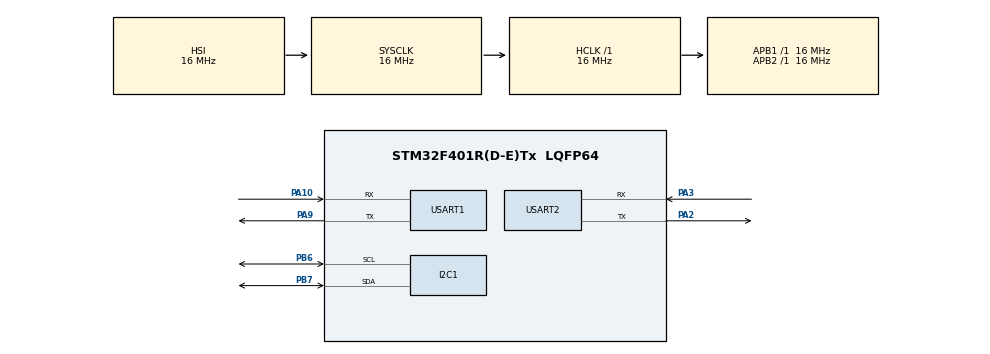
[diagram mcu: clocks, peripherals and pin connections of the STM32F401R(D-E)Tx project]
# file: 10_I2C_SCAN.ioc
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Mcu.Family=STM32F4
Mcu.Name=STM32F401R(D-E)Tx
Mcu.Package=LQFP64
NVIC.PriorityGroup=NVIC_PRIORITYGROUP_4
PA10.Mode=Asynchronous
PA10.Signal=USART1_RX
PA2.Mode=Asynchronous
PA2.Signal=USART2_TX
PA3.Mode=Asynchronous
PA3.Signal=USART2_RX
PA9.Mode=Asynchronous
PA9.Signal=USART1_TX
PB6.Mode=I2C
PB6.Signal=I2C1_SCL
PB7.Mode=I2C
PB7.Signal=I2C1_SDA
ProjectManager.HeapSize=0x200
ProjectManager.StackSize=0x400
ProjectManager.TargetToolchain=STM32CubeIDE
RCC.AHBFreq_Value=16000000
RCC.APB1Freq_Value=16000000
RCC.APB2Freq_Value=16000000
RCC.CortexFreq_Value=16000000
RCC.HSE_VALUE=25000000
RCC.HSI_VALUE=16000000
RCC.LSE_VALUE=32768
RCC.SYSCLKFreq_VALUE=16000000
RCC.VCOOutputFreq_Value=192000000
USART1.VirtualMode=VM_ASYNC
USART2.VirtualMode=VM_ASYNC
board=custom

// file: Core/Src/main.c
/* USER CODE BEGIN Header */
/**
  ******************************************************************************
  * @file           : main.c
  * @brief          : Main program body
  ******************************************************************************
  * @attention
  *
  * Copyright (c) 2023 STMicroelectronics.
  * All rights reserved.
  *
  * This software is licensed under terms that can be found in the LICENSE file
  * in the root directory of this software component.
  * If no LICENSE file comes with this software, it is provided AS-IS.
  *
  ******************************************************************************
  */
/* USER CODE END Header */
#include "main.h"

/* USER CODE BEGIN Includes */
#include <stdio.h>
/* USER CODE END Includes */

I2C_HandleTypeDef hi2c1;

UART_HandleTypeDef huart1;
UART_HandleTypeDef huart2;

void SystemClock_Config(void);
static void MX_GPIO_Init(void);
static void MX_USART2_UART_Init(void);
static void MX_USART1_UART_Init(void);
static void MX_I2C1_Init(void);

/* USER CODE BEGIN 0 */
#ifdef	__GNUC__
#define PUTCHAR_PROTOTYPE int __io_putchar(int caracter);
#else
#define PUTCHAR_PROTOTYPE int fputc(int caracter);
#endif

int __io_putchar(int caracter)
{
	HAL_UART_Transmit(&huart2,(uint8_t *)&caracter,1,HAL_MAX_DELAY);
	HAL_UART_Transmit(&huart1,(uint8_t *)&caracter,1,HAL_MAX_DELAY);
	return caracter;
}
/* USER CODE END 0 */

int main(void)
{

  /* MCU Configuration--------------------------------------------------------*/

  /* Reset of all peripherals, Initializes the Flash interface and the Systick. */
  HAL_Init();

  /* Configure the system clock */
  SystemClock_Config();

  /* Initialize all configured peripherals */
  MX_GPIO_Init();
  MX_USART2_UART_Init();
  MX_USART1_UART_Init();
  MX_I2C1_Init();
  /* USER CODE BEGIN 2 */
  printf("Iniciamos el Scaneo :D\n\r");
  uint8_t var ,respuesta;
   for (var = 0; var <128; ++var) {

 	  respuesta=HAL_I2C_IsDeviceReady(&hi2c1, (uint16_t)(var<<1),3,10);

 	  if (respuesta != HAL_OK) printf("-\n\r");
 	  else if (respuesta == HAL_OK) printf("0x%X\n\r",var);

   }
   printf("Scaneo Completado B)\n\r");
  /* USER CODE END 2 */

  /* Infinite loop */
  while (1)
  {

  }
}

void SystemClock_Config(void)
{
  RCC_OscInitTypeDef RCC_OscInitStruct = {0};
  RCC_ClkInitTypeDef RCC_ClkInitStruct = {0};

  /** Configure the main internal regulator output voltage
  */
  __HAL_RCC_PWR_CLK_ENABLE();
  __HAL_PWR_VOLTAGESCALING_CONFIG(PWR_REGULATOR_VOLTAGE_SCALE2);

  /** Initializes the RCC Oscillators according to the specified parameters
  * in the RCC_OscInitTypeDef structure.
  */
  RCC_OscInitStruct.OscillatorType = RCC_OSCILLATORTYPE_HSI;
  RCC_OscInitStruct.HSIState = RCC_HSI_ON;
  RCC_OscInitStruct.HSICalibrationValue = RCC_HSICALIBRATION_DEFAULT;
  RCC_OscInitStruct.PLL.PLLState = RCC_PLL_NONE;
  if (HAL_RCC_OscConfig(&RCC_OscInitStruct) != HAL_OK)
  {
    Error_Handler();
  }

  /** Initializes the CPU, AHB and APB buses clocks
  */
  RCC_ClkInitStruct.ClockType = RCC_CLOCKTYPE_HCLK|RCC_CLOCKTYPE_SYSCLK
                              |RCC_CLOCKTYPE_PCLK1|RCC_CLOCKTYPE_PCLK2;
  RCC_ClkInitStruct.SYSCLKSource = RCC_SYSCLKSOURCE_HSI;
  RCC_ClkInitStruct.AHBCLKDivider = RCC_SYSCLK_DIV1;
  RCC_ClkInitStruct.APB1CLKDivider = RCC_HCLK_DIV1;
  RCC_ClkInitStruct.APB2CLKDivider = RCC_HCLK_DIV1;

  if (HAL_RCC_ClockConfig(&RCC_ClkInitStruct, FLASH_LATENCY_0) != HAL_OK)
  {
    Error_Handler();
  }
}

static void MX_I2C1_Init(void)
{

  hi2c1.Instance = I2C1;
  hi2c1.Init.ClockSpeed = 100000;
  hi2c1.Init.DutyCycle = I2C_DUTYCYCLE_2;
  hi2c1.Init.OwnAddress1 = 0;
  hi2c1.Init.AddressingMode = I2C_ADDRESSINGMODE_7BIT;
  hi2c1.Init.DualAddressMode = I2C_DUALADDRESS_DISABLE;
  hi2c1.Init.OwnAddress2 = 0;
  hi2c1.Init.GeneralCallMode = I2C_GENERALCALL_DISABLE;
  hi2c1.Init.NoStretchMode = I2C_NOSTRETCH_DISABLE;
  if (HAL_I2C_Init(&hi2c1) != HAL_OK)
  {
    Error_Handler();
  }

}

static void MX_USART1_UART_Init(void)
{

  huart1.Instance = USART1;
  huart1.Init.BaudRate = 115200;
  huart1.Init.WordLength = UART_WORDLENGTH_8B;
  huart1.Init.StopBits = UART_STOPBITS_1;
  huart1.Init.Parity = UART_PARITY_NONE;
  huart1.Init.Mode = UART_MODE_TX_RX;
  huart1.Init.HwFlowCtl = UART_HWCONTROL_NONE;
  huart1.Init.OverSampling = UART_OVERSAMPLING_16;
  if (HAL_UART_Init(&huart1) != HAL_OK)
  {
    Error_Handler();
  }

}

static void MX_USART2_UART_Init(void)
{

  huart2.Instance = USART2;
  huart2.Init.BaudRate = 115200;
  huart2.Init.WordLength = UART_WORDLENGTH_8B;
  huart2.Init.StopBits = UART_STOPBITS_1;
  huart2.Init.Parity = UART_PARITY_NONE;
  huart2.Init.Mode = UART_MODE_TX_RX;
  huart2.Init.HwFlowCtl = UART_HWCONTROL_NONE;
  huart2.Init.OverSampling = UART_OVERSAMPLING_16;
  if (HAL_UART_Init(&huart2) != HAL_OK)
  {
    Error_Handler();
  }

}

static void MX_GPIO_Init(void)
{

  /* GPIO Ports Clock Enable */
  __HAL_RCC_GPIOA_CLK_ENABLE();
  __HAL_RCC_GPIOB_CLK_ENABLE();

}

void Error_Handler(void)
{
  __disable_irq();
  while (1)
  {
  }
}
